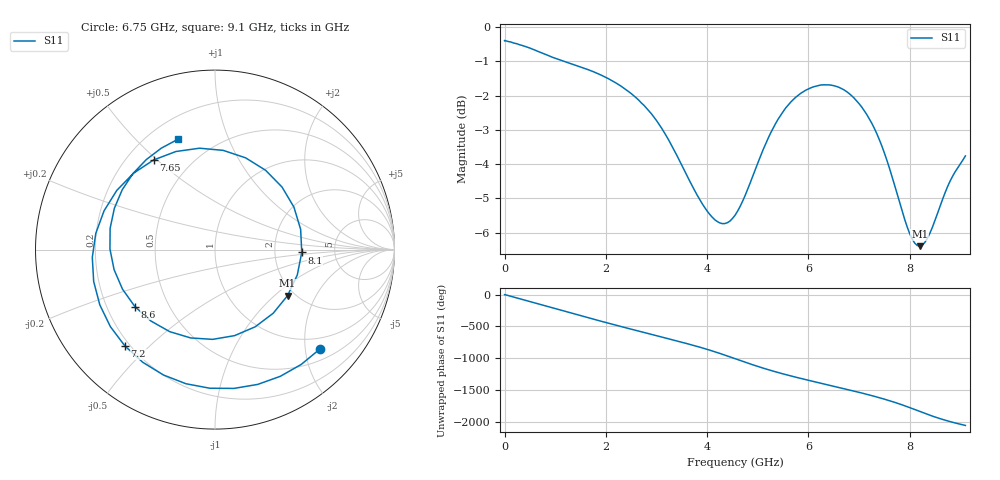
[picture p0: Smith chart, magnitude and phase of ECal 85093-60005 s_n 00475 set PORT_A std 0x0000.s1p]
!Created with skrf (http://scikit-rf.org).
# Hz S RI R 50.0
!freq ReS11 ImS11
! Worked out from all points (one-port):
!   252 points, 30 kHz to 9.1 GHz, reference 50 ohm
!   lowest |S11| = -6.4 dB at 8.2 GHz (marker M1), VSWR 2.84, Z = 91.6 - j61 ohm
!   |S11| at or under -10 dB: nowhere
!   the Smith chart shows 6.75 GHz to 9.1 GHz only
!   S11 on the Smith chart (normalised r, x): 6.75 GHz: 0.73, -2.31; 7.2 GHz: 0.18, -0.42; 7.65 GHz: 0.31, +0.49; 8.1 GHz: 2.87, -0.12; 8.6 GHz: 0.32, -0.29; 9.1 GHz: 0.32, +0.67
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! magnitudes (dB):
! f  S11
! 30 kHz  -0.4
! 1.15 GHz  -1.0
! 1.85 GHz  -1.4
! 2.3 GHz  -1.7
! 2.9 GHz  -2.5
! 3.15 GHz  -3.1
! 3.45 GHz  -3.9
! 3.9 GHz  -5.2
! 4.15 GHz  -5.6
! 4.4 GHz  -5.7
! 4.6 GHz  -5.4
! 5.25 GHz  -3.1
! 5.45 GHz  -2.6
! 5.7 GHz  -2.1
! 5.95 GHz  -1.8
! 6.25 GHz  -1.7
! 6.75 GHz  -1.9
! 6.85 GHz  -2.0
! 7.2 GHz  -2.7
! 7.45 GHz  -3.5
! 7.65 GHz  -4.4
! 8 GHz  -6.0
! 8.1 GHz  -6.3
! 8.2 GHz  -6.4
! 8.35 GHz  -6.2
! 8.6 GHz  -5.2
! 8.8 GHz  -4.5
! 9.1 GHz  -3.8
